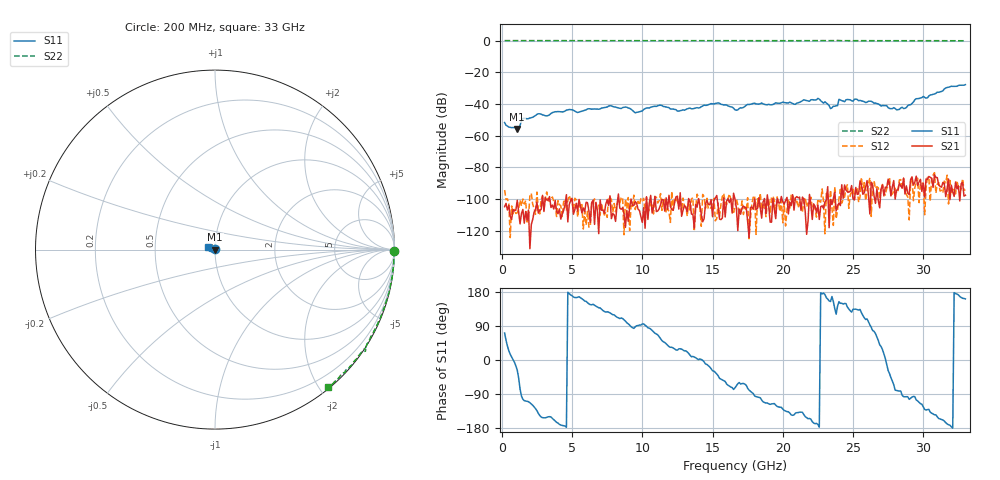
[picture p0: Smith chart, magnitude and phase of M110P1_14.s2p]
# GHZ S RI R 50
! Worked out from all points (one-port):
!   329 points, 200 MHz to 33 GHz, reference 50 ohm
!   lowest |S11| = -55.9 dB at 1.1 GHz (marker M1), VSWR 1.00, Z = 50.1 - j0.0725 ohm
!   |S11| at or under -10 dB: start of sweep to end of sweep
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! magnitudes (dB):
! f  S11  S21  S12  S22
! 200 MHz  -51.8  -105.0  -94.4  0.0
! 1.1 GHz  -55.9  -100.9  -108.8  0.0
! 1.5 GHz  -49.2  -106.7  -100.1  0.0
! 2.6 GHz  -46.2  -109.0  -107.3  0.0
! 5.7 GHz  -44.6  -108.8  -103.6  0.0
! 7.7 GHz  -41.2  -98.1  -98.9  0.0
! 9.5 GHz  -45.6  -101.7  -106.7  0.0
! 11.2 GHz  -40.9  -106.3  -101.1  0.0
! 12.6 GHz  -44.5  -106.5  -104.4  0.0
! 15.4 GHz  -39.4  -104.7  -102.6  0.0
! 16.6 GHz  -43.7  -100.2  -105.0  0.0
! 17.9 GHz  -39.6  -106.6  -99.0  0.0
! 22.1 GHz  -37.3  -113.0  -105.8  0.0
! 23 GHz  -38.7  -102.1  -122.1  0.0
! 23.4 GHz  -43.0  -100.3  -94.5  0.0
! 23.9 GHz  -41.1  -104.6  -106.8  0.1
! 24 GHz  -37.1  -102.6  -99.9  0.0
! 25.2 GHz  -37.0  -92.8  -93.0  0.0
! 27.6 GHz  -42.9  -90.6  -86.5  0.0
! 28.7 GHz  -42.8  -96.9  -95.5  -0.1
! 29.5 GHz  -36.7  -85.7  -88.6  0.0
! 33 GHz  -27.8  -97.7  -94.3  -0.1
